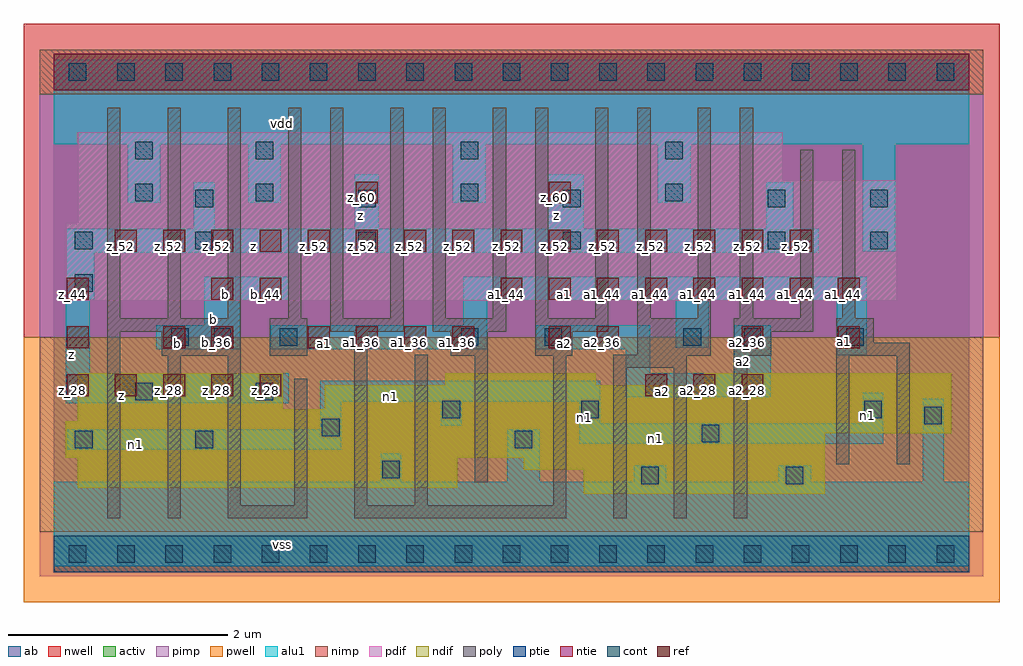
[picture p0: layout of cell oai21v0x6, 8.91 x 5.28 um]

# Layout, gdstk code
import gdstk
lib = gdstk.Library(unit=1e-6, precision=2.5e-09)
def R(c, l, rs):  # rectangles x0, y0, x1, y1
    for r in rs: c.add(gdstk.rectangle(r[:2], r[2:], *l))
def A(c, l, x, y, w, h, nx, ny, dx, dy):  # array of equal rectangles
    R(c, l, [(x+i*dx, y+j*dy, x+i*dx+w, y+j*dy+h) for i in range(nx) for j in range(ny)])
ndif = (3, 0)
pdif = (4, 0)
ntie = (5, 0)
ptie = (6, 0)
ref = (24, 0)
cont = (25, 0)
pwell = (41, 0)
nwell = (42, 0)
activ = (43, 0)
pimp = (44, 0)
nimp = (45, 0)
poly = (46, 0)
alu1 = (49, 0)
ab = (63, 0)

oai21v0x6 = lib.new_cell('oai21v0x6')
R(oai21v0x6, ndif, [(4.84,0.55,7.04,0.77), (0.22,0.605,3.685,0.88), (4.29,0.77,7.04,0.88), (0.11,0.88,7.04,1.1), (0.11,1.1,8.195,1.21), (0.22,1.21,8.195,1.32), (0.22,1.32,2.09,1.65), (2.475,1.32,8.195,1.54), (3.575,1.54,4.95,1.65), (5.94,1.54,8.195,1.65)])
R(oai21v0x6, pdif, [(0.11,2.31,7.7,3.025), (0.22,3.025,7.7,3.41), (0.22,3.41,6.655,3.85)])
R(oai21v0x6, ntie, [(0,4.235,8.36,4.565)])
R(oai21v0x6, ptie, [(0,-0.165,8.36,0.165)])
A(oai21v0x6, ref, 0.12, 1.44, 0.2, 0.2, 5, 1, 0.44, 0)
A(oai21v0x6, ref, 5.4, 1.44, 0.2, 0.2, 3, 1, 0.44, 0)
A(oai21v0x6, ref, 2.32, 1.88, 0.2, 0.2, 4, 1, 0.44, 0)
A(oai21v0x6, ref, 4.08, 2.32, 0.2, 0.2, 8, 1, 0.44, 0)
A(oai21v0x6, ref, 0.56, 2.76, 0.2, 0.2, 15, 1, 0.44, 0)
R(oai21v0x6, ref, [(0.12,1.88,0.32,2.08), (1,1.88,1.2,2.08), (1.44,1.88,1.64,2.08), (4.52,1.88,4.72,2.08), (4.96,1.88,5.16,2.08), (6.28,1.88,6.48,2.08), (7.16,1.88,7.36,2.08), (0.12,2.32,0.32,2.52), (1.44,2.32,1.64,2.52), (1.88,2.32,2.08,2.52), (2.76,3.2,2.96,3.4), (4.52,3.2,4.72,3.4)])
A(oai21v0x6, cont, 0.14, -0.08, 0.16, 0.16, 19, 2, 0.44, 4.4)
A(oai21v0x6, cont, 2.78, 2.78, 0.16, 0.16, 3, 2, 1.87, 0.385)
A(oai21v0x6, cont, 1.845, 3.22, 0.16, 0.16, 3, 2, 1.87, 0.385)
R(oai21v0x6, cont, [(5.365,0.635,5.525,0.795), (6.685,0.635,6.845,0.795), (3,0.69,3.16,0.85), (0.195,0.965,0.355,1.125), (1.295,0.965,1.455,1.125), (4.21,0.965,4.37,1.125), (5.915,1.02,6.075,1.18), (2.45,1.075,2.61,1.235), (7.95,1.185,8.11,1.345), (3.55,1.24,3.71,1.4), (4.815,1.24,4.975,1.4), (7.4,1.24,7.56,1.4), (0.745,1.405,0.905,1.565), (1.845,1.405,2.005,1.565), (1.075,1.9,1.235,2.06), (1.46,1.9,1.62,2.06), (2.065,1.9,2.225,2.06), (3.715,1.9,3.875,2.06), (4.485,1.9,4.645,2.06), (5.75,1.9,5.91,2.06), (6.3,1.9,6.46,2.06), (7.235,1.9,7.395,2.06), (0.195,2.395,0.355,2.555), (0.195,2.78,0.355,2.94), (1.295,2.78,1.455,2.94), (7.455,2.78,7.615,2.94), (1.295,3.165,1.455,3.325), (7.455,3.165,7.615,3.325), (0.745,3.22,0.905,3.38), (0.745,3.605,0.905,3.765)])
R(oai21v0x6, pwell, [(-0.275,-0.44,8.635,1.98)])
R(oai21v0x6, nwell, [(-0.275,1.98,8.635,4.84)])
R(oai21v0x6, activ, [(0,-0.165,8.36,0.165), (4.84,0.55,7.04,0.77), (0.22,0.605,3.685,0.88), (4.29,0.77,7.04,0.88), (0.11,0.88,7.04,1.1), (0.11,1.1,8.195,1.21), (0.22,1.21,8.195,1.32), (0.22,1.32,2.09,1.65), (2.475,1.32,8.195,1.54), (3.575,1.54,4.95,1.65), (5.94,1.54,8.195,1.65), (0.11,2.31,7.7,3.025), (0.22,3.025,7.7,3.41), (0.22,3.41,6.655,3.85), (0,4.235,8.36,4.565)])
R(oai21v0x6, pimp, [(-0.125,-0.205,8.485,0.205), (-0.125,1.98,8.485,4.195)])
R(oai21v0x6, nimp, [(-0.125,0.205,8.485,1.98), (-0.125,4.195,8.485,4.605)])
A(oai21v0x6, poly, 2.525, 2.03, 0.67, 0.12, 3, 1, 0.935, 0)
A(oai21v0x6, poly, 0.49, 2.15, 0.12, 1.925, 4, 1, 0.55, 0)
R(oai21v0x6, poly, [(0.49,0.325,0.61,2.03), (1.04,0.325,1.16,1.81), (1.59,0.325,2.315,0.445), (2.745,0.325,4.68,0.445), (5.11,0.325,5.23,1.7), (5.66,0.325,5.78,1.7), (6.21,0.325,6.33,1.81), (1.59,0.445,1.71,1.81), (2.195,0.445,2.315,1.6), (2.745,0.445,2.865,2.03), (3.295,0.445,3.415,1.82), (4.56,0.445,4.68,1.81), (3.845,0.655,3.965,1.81), (7.145,0.82,7.265,1.81), (7.695,0.82,7.815,1.81), (5.11,1.7,5.78,1.81), (0.985,1.81,1.71,2.03), (1.975,1.81,2.315,2.15), (3.625,1.81,3.965,2.03), (4.395,1.81,4.735,2.03), (5.11,1.81,6,1.82), (6.21,1.81,6.55,2.03), (7.145,1.81,7.815,1.93), (5.33,1.82,6,2.15), (7.145,1.93,7.485,2.15), (0.49,2.03,1.71,2.15), (6.21,2.03,6.935,2.15), (2.525,2.15,2.645,4.075), (3.075,2.15,3.195,4.075), (3.46,2.15,3.58,4.075), (4.01,2.15,4.13,4.075), (4.395,2.15,4.515,4.075), (4.945,2.15,5.065,4.075), (5.33,2.15,5.45,4.075), (5.88,2.15,6,4.075), (6.265,2.15,6.385,4.075), (6.815,2.15,6.935,3.69), (7.2,2.15,7.32,3.69)])
A(oai21v0x6, alu1, 1.775, 3.205, 0.3, 0.535, 3, 1, 1.87, 0)
R(oai21v0x6, alu1, [(0,-0.11,8.36,0.66), (2.985,0.66,3.175,0.92), (4.14,0.66,4.44,1.14), (5.295,0.66,5.595,0.81), (6.615,0.66,6.915,0.81), (7.935,0.66,8.125,1.415), (0.125,0.95,2.625,1.14), (4.8,1.005,7.575,1.195), (2.435,1.14,2.625,1.39), (3.535,1.17,3.725,1.39), (4.8,1.195,4.99,1.39), (7.385,1.195,7.575,1.47), (0.11,1.375,2.145,1.65), (2.435,1.39,4.99,1.58), (5.225,1.43,6.545,1.65), (0.11,1.65,0.33,2.325), (5.225,1.65,5.445,1.87), (6.215,1.65,6.545,2.09), (7.15,1.815,7.425,2.31), (0.935,1.87,1.705,2.09), (1.98,1.87,3.96,2.09), (4.4,1.87,5.445,2.09), (5.68,1.885,5.98,2.31), (1.375,2.09,1.705,2.31), (3.74,2.09,3.96,2.31), (1.375,2.31,2.145,2.53), (3.74,2.31,7.425,2.53), (0.11,2.325,0.37,2.75), (0.11,2.75,6.985,2.97), (7.385,2.765,7.685,3.74), (1.28,2.97,1.47,3.395), (2.75,2.97,2.97,3.465), (4.51,2.97,4.84,3.465), (6.505,2.97,6.75,3.395), (0.675,3.205,0.975,3.74), (0,3.74,8.36,4.51)])
R(oai21v0x6, ab, [(0,0,8.36,4.4)])
oai21v0x6.add(gdstk.Label('vss', (2.09,0.0825), layer=49, texttype=0))
oai21v0x6.add(gdstk.Label('n1', (5.4925,1.0525), layer=49, texttype=0))
oai21v0x6.add(gdstk.Label('n1', (0.75,0.9975), layer=49, texttype=0))
oai21v0x6.add(gdstk.Label('n1', (7.4325,1.2625), layer=49, texttype=0))
oai21v0x6.add(gdstk.Label('n1', (4.8475,1.2425), layer=49, texttype=0))
oai21v0x6.add(gdstk.Label('a2', (5.555,1.485), layer=49, texttype=0))
oai21v0x6.add(gdstk.Label('n1', (3.0725,1.4375), layer=49, texttype=0))
oai21v0x6.add(gdstk.Label('z', (0.6175,1.4425), layer=49, texttype=0))
oai21v0x6.add(gdstk.Label('a1', (7.2175,1.9375), layer=49, texttype=0))
oai21v0x6.add(gdstk.Label('a2', (6.2975,1.76), layer=49, texttype=0))
oai21v0x6.add(gdstk.Label('a2', (4.66,1.925), layer=49, texttype=0))
oai21v0x6.add(gdstk.Label('a1', (2.475,1.925), layer=49, texttype=0))
oai21v0x6.add(gdstk.Label('b', (1.1275,1.925), layer=49, texttype=0))
oai21v0x6.add(gdstk.Label('b', (1.4575,2.145), layer=49, texttype=0))
oai21v0x6.add(gdstk.Label('a1', (4.66,2.365), layer=49, texttype=0))
oai21v0x6.add(gdstk.Label('b', (1.5675,2.365), layer=49, texttype=0))
oai21v0x6.add(gdstk.Label('z', (0.165,1.8175), layer=49, texttype=0))
oai21v0x6.add(gdstk.Label('z', (1.8275,2.805), layer=49, texttype=0))
oai21v0x6.add(gdstk.Label('z', (4.5925,3.0925), layer=49, texttype=0))
oai21v0x6.add(gdstk.Label('z', (2.805,3.0925), layer=49, texttype=0))
oai21v0x6.add(gdstk.Label('vdd', (2.09,3.9325), layer=49, texttype=0))
oai21v0x6.add(gdstk.Label('z_52', (5.01,2.81), layer=24, texttype=0))
oai21v0x6.add(gdstk.Label('a1_44', (5.01,2.37), layer=24, texttype=0))
oai21v0x6.add(gdstk.Label('a2_36', (5.01,1.93), layer=24, texttype=0))
oai21v0x6.add(gdstk.Label('z_60', (4.57,3.25), layer=24, texttype=0))
oai21v0x6.add(gdstk.Label('z_52', (4.57,2.81), layer=24, texttype=0))
oai21v0x6.add(gdstk.Label('a1_44', (4.57,2.37), layer=24, texttype=0))
oai21v0x6.add(gdstk.Label('a2_36', (4.57,1.93), layer=24, texttype=0))
oai21v0x6.add(gdstk.Label('z_52', (4.13,2.81), layer=24, texttype=0))
oai21v0x6.add(gdstk.Label('a1_44', (4.13,2.37), layer=24, texttype=0))
oai21v0x6.add(gdstk.Label('z_52', (3.69,2.81), layer=24, texttype=0))
oai21v0x6.add(gdstk.Label('a1_36', (3.69,1.93), layer=24, texttype=0))
oai21v0x6.add(gdstk.Label('z_52', (3.25,2.81), layer=24, texttype=0))
oai21v0x6.add(gdstk.Label('a1_36', (3.25,1.93), layer=24, texttype=0))
oai21v0x6.add(gdstk.Label('z_60', (2.81,3.25), layer=24, texttype=0))
oai21v0x6.add(gdstk.Label('z_52', (2.81,2.81), layer=24, texttype=0))
oai21v0x6.add(gdstk.Label('a1_36', (2.81,1.93), layer=24, texttype=0))
oai21v0x6.add(gdstk.Label('z_52', (2.37,2.81), layer=24, texttype=0))
oai21v0x6.add(gdstk.Label('a1_36', (2.37,1.93), layer=24, texttype=0))
oai21v0x6.add(gdstk.Label('z_44', (0.17,2.37), layer=24, texttype=0))
oai21v0x6.add(gdstk.Label('z_36', (0.17,1.93), layer=24, texttype=0))
oai21v0x6.add(gdstk.Label('z_28', (0.17,1.49), layer=24, texttype=0))
oai21v0x6.add(gdstk.Label('z_52', (1.93,2.81), layer=24, texttype=0))
oai21v0x6.add(gdstk.Label('b_44', (1.93,2.37), layer=24, texttype=0))
oai21v0x6.add(gdstk.Label('z_28', (1.93,1.49), layer=24, texttype=0))
oai21v0x6.add(gdstk.Label('z_52', (1.49,2.81), layer=24, texttype=0))
oai21v0x6.add(gdstk.Label('b_44', (1.49,2.37), layer=24, texttype=0))
oai21v0x6.add(gdstk.Label('b_36', (1.49,1.93), layer=24, texttype=0))
oai21v0x6.add(gdstk.Label('z_28', (1.49,1.49), layer=24, texttype=0))
oai21v0x6.add(gdstk.Label('z_52', (1.05,2.81), layer=24, texttype=0))
oai21v0x6.add(gdstk.Label('b_36', (1.05,1.93), layer=24, texttype=0))
oai21v0x6.add(gdstk.Label('z_28', (1.05,1.49), layer=24, texttype=0))
oai21v0x6.add(gdstk.Label('a1_44', (7.21,2.37), layer=24, texttype=0))
oai21v0x6.add(gdstk.Label('a1_36', (7.21,1.93), layer=24, texttype=0))
oai21v0x6.add(gdstk.Label('z_52', (6.77,2.81), layer=24, texttype=0))
oai21v0x6.add(gdstk.Label('a1_44', (6.77,2.37), layer=24, texttype=0))
oai21v0x6.add(gdstk.Label('z_52', (0.61,2.81), layer=24, texttype=0))
oai21v0x6.add(gdstk.Label('z_28', (0.61,1.49), layer=24, texttype=0))
oai21v0x6.add(gdstk.Label('z_52', (6.33,2.81), layer=24, texttype=0))
oai21v0x6.add(gdstk.Label('a1_44', (6.33,2.37), layer=24, texttype=0))
oai21v0x6.add(gdstk.Label('a2_36', (6.33,1.93), layer=24, texttype=0))
oai21v0x6.add(gdstk.Label('a2_28', (6.33,1.49), layer=24, texttype=0))
oai21v0x6.add(gdstk.Label('z_52', (5.89,2.81), layer=24, texttype=0))
oai21v0x6.add(gdstk.Label('a1_44', (5.89,2.37), layer=24, texttype=0))
oai21v0x6.add(gdstk.Label('a2_28', (5.89,1.49), layer=24, texttype=0))
oai21v0x6.add(gdstk.Label('z_52', (5.45,2.81), layer=24, texttype=0))
oai21v0x6.add(gdstk.Label('a1_44', (5.45,2.37), layer=24, texttype=0))
oai21v0x6.add(gdstk.Label('a2_28', (5.45,1.49), layer=24, texttype=0))

lib.write_gds('oai21v0x6.gds')
